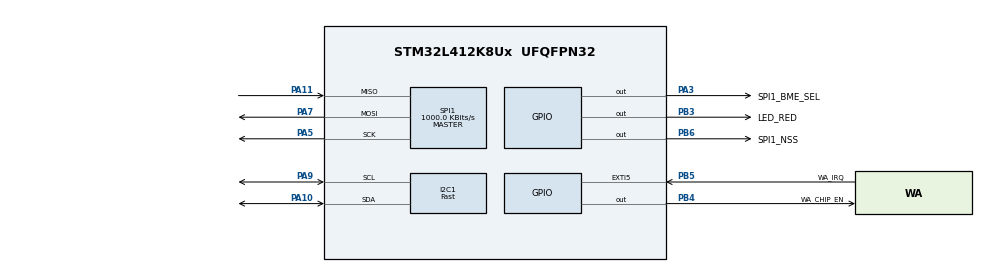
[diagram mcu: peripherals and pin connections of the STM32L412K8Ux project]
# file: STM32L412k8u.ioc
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I2C1.Analog_Filter=I2C_ANALOGFILTER_ENABLE
I2C1.I2C_Speed_Mode=I2C_Fast
I2C1.NoStretchMode=I2C_NOSTRETCH_DISABLE
I2C1.Speed=400
I2C1.Timing=0x00000000
IWDG.Prescaler=IWDG_PRESCALER_256
Mcu.Family=STM32L4
Mcu.Name=STM32L412K8Ux
Mcu.Package=UFQFPN32
Mcu.UserConstants=MAX_TIMEOUT,10000
NVIC.EXTI9_5_IRQn=true\:7\:0\:true\:false\:true\:true\:true
NVIC.PriorityGroup=NVIC_PRIORITYGROUP_4
NVIC.RTC_Alarm_IRQn=true\:4\:0\:true\:false\:true\:true\:true
NVIC.RTC_WKUP_IRQn=true\:0\:0\:false\:false\:true\:true\:true
PA10.GPIO_Pu=GPIO_PULLUP
PA10.Mode=I2C
PA10.Signal=I2C1_SDA
PA11.Mode=Full_Duplex_Master
PA11.Signal=SPI1_MISO
PA13\ (JTMS/SWDIO).Mode=Serial_Wire
PA13\ (JTMS/SWDIO).Signal=SYS_JTMS-SWDIO
PA14\ (JTCK/SWCLK).Mode=Serial_Wire
PA14\ (JTCK/SWCLK).Signal=SYS_JTCK-SWCLK
PA3.GPIO_Label=SPI1_BME_SEL
PA3.GPIO_ModeDefaultOutputPP=GPIO_MODE_OUTPUT_OD
PA3.GPIO_PuPd=GPIO_NOPULL
PA3.PinState=GPIO_PIN_SET
PA3.Signal=GPIO_Output
PA5.Mode=Full_Duplex_Master
PA5.Signal=SPI1_SCK
PA7.Mode=Full_Duplex_Master
PA7.Signal=SPI1_MOSI
PA9.GPIO_Pu=GPIO_PULLUP
PA9.Mode=I2C
PA9.Signal=I2C1_SCL
PB1.Signal=ADCx_IN16
PB3\ (JTDO/TRACESWO).GPIO_Label=LED_RED
PB3\ (JTDO/TRACESWO).Signal=GPIO_Output
PB4\ (NJTRST).GPIO_Label=WA_CHIP_EN
PB4\ (NJTRST).GPIO_ModeDefaultOutputPP=GPIO_MODE_OUTPUT_PP
PB4\ (NJTRST).PinState=GPIO_PIN_SET
PB4\ (NJTRST).Signal=GPIO_Output
PB5.GPIO_Label=WA_IRQ
PB5.GPIO_ModeDefaultEXTI=GPIO_MODE_IT_RISING
PB5.GPIO_PuPd=GPIO_PULLDOWN
PB5.Signal=GPXTI5
PB6.GPIO_Label=SPI1_NSS
PB6.GPIO_ModeDefaultOutputPP=GPIO_MODE_OUTPUT_PP
PB6.GPIO_PuPd=GPIO_NOPULL
PB6.PinState=GPIO_PIN_RESET
PB6.Signal=GPIO_Output
PC14-OSC32_IN\ (PC14).Mode=LSE-External-Oscillator
PC14-OSC32_IN\ (PC14).Signal=RCC_OSC32_IN
PC15-OSC32_OUT\ (PC15).Mode=LSE-External-Oscillator
PC15-OSC32_OUT\ (PC15).Signal=RCC_OSC32_OUT
ProjectManager.HeapSize=0x200
ProjectManager.StackSize=0x400
ProjectManager.TargetToolchain=EWARM V8.32
RCC.ADCFreq_Value=2000000
RCC.AHBFreq_Value=2000000
RCC.APB1Freq_Value=2000000
RCC.APB1TimFreq_Value=2000000
RCC.APB2Freq_Value=2000000
RCC.APB2TimFreq_Value=2000000
RCC.CortexFreq_Value=2000000
RCC.DATA_CACHE_ENABLE=1
RCC.HCLKFreq_Value=2000000
RCC.HSE_VALUE=8000000
RCC.HSI48_VALUE=48000000
RCC.HSI_VALUE=16000000
RCC.I2C1CLockSelection=RCC_I2C1CLKSOURCE_SYSCLK
RCC.INSTRUCTION_CACHE_ENABLE=1
RCC.LPTIM1CLockSelection=RCC_LPTIM1CLKSOURCE_LSE
RCC.LPTIM2CLockSelection=RCC_LPTIM2CLKSOURCE_LSE
RCC.LPUART1CLockSelection=RCC_LPUART1CLKSOURCE_LSE
RCC.MSIAutoCalibration=DISABLED
RCC.MSIClockRange=RCC_MSIRANGE_5
RCC.MSI_VALUE=2000000
RCC.PLLN=16
RCC.PREFETCH_ENABLE=1
RCC.PWR_Regulator_Voltage_Scale=PWR_REGULATOR_VOLTAGE_SCALE2
RCC.RTCClockSelection=RCC_RTCCLKSOURCE_LSE
RCC.SYSCLKFreq_VALUE=2000000
RCC.USBFreq_Value=2000000
RCC.VCOOutputFreq_Value=32000000
RCC.VDD_VALUE=3.3
RTC.Alarm=RTC_ALARM_A
RTC.AlarmDateWeekDaySel=RTC_ALARMDATEWEEKDAYSEL_DATE
RTC.AlarmMaskDateWeekDay=RTC_ALARMMASK_DATEWEEKDAY
RTC.AlarmMaskHours=RTC_ALARMMASK_HOURS
RTC.AlarmMaskMinutes=RTC_ALARMMASK_MINUTES
RTC.AlarmMaskSeconds=RTC_ALARMMASK_SECONDS
RTC.AlarmSubSecondMask=RTC_ALARMSUBSECONDMASK_NONE
RTC.AsynchPrediv=127
RTC.Format=RTC_FORMAT_BCD
RTC.Month=RTC_MONTH_AUGUST
RTC.SubSeconds_A=30
RTC.SynchPrediv=255
RTC.WakeUpCounter=2047
RTC.Year=21
SH.ADCx_IN16.0=ADC1_IN16
SPI1.BaudRatePrescaler=SPI_BAUDRATEPRESCALER_2
SPI1.CLKPhase=SPI_PHASE_1EDGE
SPI1.CalculateBaudRate=1000.0 KBits/s
SPI1.DataSize=SPI_DATASIZE_8BIT
SPI1.Direction=SPI_DIRECTION_2LINES
SPI1.Mode=SPI_MODE_MASTER
SPI1.NSSPMode=SPI_NSS_PULSE_DISABLE
SPI1.VirtualType=VM_MASTER
VP_CRC_VS_CRC.Mode=CRC_Activate
VP_IWDG_VS_IWDG.Mode=IWDG_Activate
VP_RTC_VS_RTC_Activate.Mode=RTC_Enabled
VP_RTC_VS_RTC_Alarm_A_Intern.Mode=Alarm A
VP_RTC_VS_RTC_Calendar.Mode=RTC_Calendar
VP_RTC_VS_RTC_WakeUp_intern.Mode=WakeUp
board=custom

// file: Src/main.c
/* USER CODE BEGIN Header */
/**
  ******************************************************************************
  * @file           : main.c
  * @brief          : Main program body
  ******************************************************************************
  * @attention
  *
  * <h2><center>&copy; Copyright (c) 2020 STMicroelectronics.
  * All rights reserved.</center></h2>
  *
  * This software component is licensed by ST under BSD 3-Clause license,
  * the "License"; You may not use this file except in compliance with the
  * License. You may obtain a copy of the License at:
  *                        opensource.org/licenses/BSD-3-Clause
  *
  ******************************************************************************
  */
/* USER CODE END Header */
#include "main.h"
#include "crc.h"
#include "i2c.h"
#include "iwdg.h"
#include "rtc.h"
#include "spi.h"
#include "gpio.h"

/* USER CODE BEGIN Includes */
#include "cb.h"
#include "radio.h"
#include "WVT_BME280.h"
#include "WVT_SGP40.h"
/* USER CODE END Includes */

/* USER CODE BEGIN PV */
water7_params_str *Water7_params_p;
/*!
 * \brief
 * \todo check this
 */
main_par_t main_par =
{
  MODE_TEST,0,0,0
};
/*!
 * \brief every second scheduler descriptor
 *
 */
struct scheduler_desc everysec_desc;
/*!
 * \brief measurement on BME280 scheduler descriptor
 *
 */
struct scheduler_desc meas_desc;

bool WeCanSleep = false;
/* USER CODE END PV */

void SystemClock_Config(void);

/* USER CODE BEGIN 0 */
/*!
 * \brief set water7 protocol and meter configuration
 *
 */
void waterAndMeterInit(void)
{
  water7_params_str *water7_params_p = Water7GetParams();
  meter_params_str *meter_params_p = 0;
  /// \todo fix this
  get_saved_param(water7_params_p, meter_params_p);

  Water7PushFunc(WATER7_FUNC_SET_DATA, water7set_data);
  Water7PushFunc(WATER7_FUNC_GET_DATA, water7get_data);
  Water7PushFunc(WATER7_FUNC_SAVE_DATA, water7save_data);
  Water7PushFuncRfl(WATER7_FUNC_RFL, water7_rfl);

  Water7Init(water7_params_p);
  /// \todo fix this
  meter_init(meter_params_p, meter_inc_cb);
  Water7SendEvent(EVENT_RESET, 0);
}

/*!
 * \brief every wakeup tick
 *
 * \param desc
 */
void EverySec(struct scheduler_desc *desc)
{
    time_t timeNow = RTC_GetSeconds();
    Water7OneSec(RTC_GetTime());
}

/*!
 * \brief send complete callback from nb-fi
 *
 * \param ul
 */
void nbfi_send_complete(nbfi_ul_sent_status_t ul)
{
}

/*!
 * \brief receive complete callback from nb-fi
 *
 * \param data
 * \param length
 */
void nbfi_receive_complete(uint8_t *data, uint16_t length)
{
    Water7RXcallback(data, length);
}
/* USER CODE END 0 */

int main(void)
{
  /* USER CODE BEGIN 1 */
#ifdef DEBUG
//    LL_DBGMCU_EnableDBGStopMode();
#endif
  /* USER CODE END 1 */

  /* MCU Configuration--------------------------------------------------------*/

  /* Reset of all peripherals, Initializes the Flash interface and the Systick. */
  HAL_Init();

  /* Configure the system clock */
  SystemClock_Config();

  /* Initialize all configured peripherals */
  MX_GPIO_Init();
  MX_CRC_Init();
  MX_RTC_Init();
  MX_SPI1_Init();
  MX_IWDG_Init();
  MX_I2C1_Init();
  /* USER CODE BEGIN 2 */
  IWDG_Init();
  /* Ensure that MSI is wake-up system clock */
  LL_RCC_SetClkAfterWakeFromStop(LL_RCC_STOP_WAKEUPCLOCK_MSI);

  //LL_PWR_EnableLowPowerRunMode();

  GPIO_Wa1470_WriteCs(0);//ensure that we disable wa1470 chip select
  SPI_Activate(); //enable SPI
  radio_init(); //Init radio NB-Fi and timers
  waterAndMeterInit(); // Init protocol for NB-Fi
  scheduler_add_task(&everysec_desc, EverySec, RUN_CONTINUOSLY_RELATIVE, SECONDS(30)); //should not exceed 30 seconds, because need to reset the watchdog

  WVT_BME280_Init();
  WVT_SGP40_Init();
  /* USER CODE END 2 */

  /* Infinite loop */
  while (1)
  {

    /* USER CODE BEGIN 3 */
    scheduler_run_callbacks();//need check timers
    NBFI_Main_Level_Loop();
    IWDG_Refresh();
    if (NBFi_can_sleep() && scheduler_can_sleep() && Water7isCanSleep())
    {
      GPIO_Wa1470_WriteCs(0); //disable chip select pin to ensure that no high level on input pin WA1470
      HAL_PWR_EnterSTOPMode(PWR_LOWPOWERREGULATOR_ON, PWR_STOPENTRY_WFI);
    }
    //      HAL_PWR_EnterSLEEPMode(PWR_LOWPOWERREGULATOR_ON, PWR_SLEEPENTRY_WFI);
  }
  /* USER CODE END 3 */
}

void SystemClock_Config(void)
{
  LL_FLASH_SetLatency(LL_FLASH_LATENCY_0);
  while(LL_FLASH_GetLatency()!= LL_FLASH_LATENCY_0)
  {
  }
  LL_PWR_SetRegulVoltageScaling(LL_PWR_REGU_VOLTAGE_SCALE2);
  LL_RCC_LSI_Enable();

   /* Wait till LSI is ready */
  while(LL_RCC_LSI_IsReady() != 1)
  {

  }
  LL_RCC_MSI_Enable();

   /* Wait till MSI is ready */
  while(LL_RCC_MSI_IsReady() != 1)
  {

  }
  LL_RCC_MSI_EnableRangeSelection();
  LL_RCC_MSI_SetRange(LL_RCC_MSIRANGE_5);
  LL_RCC_MSI_SetCalibTrimming(0);
  LL_PWR_EnableBkUpAccess();
  LL_RCC_LSE_SetDriveCapability(LL_RCC_LSEDRIVE_LOW);
  LL_RCC_LSE_Enable();

   /* Wait till LSE is ready */
  while(LL_RCC_LSE_IsReady() != 1)
  {

  }
  LL_RCC_SetSysClkSource(LL_RCC_SYS_CLKSOURCE_MSI);

   /* Wait till System clock is ready */
  while(LL_RCC_GetSysClkSource() != LL_RCC_SYS_CLKSOURCE_STATUS_MSI)
  {

  }
  LL_RCC_SetAHBPrescaler(LL_RCC_SYSCLK_DIV_1);
  LL_RCC_SetAPB1Prescaler(LL_RCC_APB1_DIV_1);
  LL_RCC_SetAPB2Prescaler(LL_RCC_APB2_DIV_1);
  LL_SetSystemCoreClock(2000000);

   /* Update the time base */
  if (HAL_InitTick (TICK_INT_PRIORITY) != HAL_OK)
  {
    Error_Handler();
  }
}

void Error_Handler(void)
{
}

/************************ (C) COPYRIGHT STMicroelectronics *****END OF FILE****/
